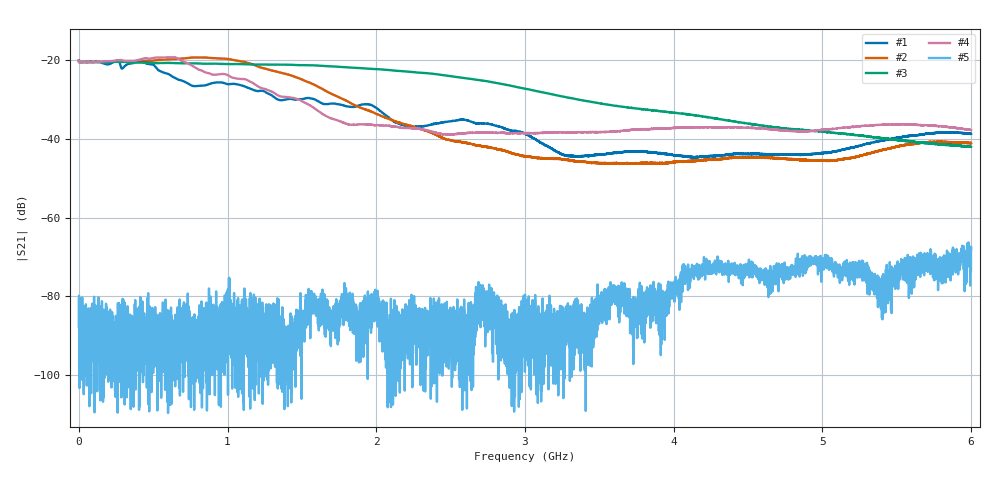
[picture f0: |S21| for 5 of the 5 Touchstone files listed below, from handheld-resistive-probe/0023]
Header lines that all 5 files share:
! Ref Plane: 0.000 mm
# MHZ S MA R  50
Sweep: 300 kHz to 6 GHz
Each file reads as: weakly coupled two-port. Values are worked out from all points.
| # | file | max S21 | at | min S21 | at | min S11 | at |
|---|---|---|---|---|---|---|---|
| 1 | flexground.s2p | -19.98 dB | 254.1 MHz | -44.8 dB | 4.142 GHz | -26.5 dB | 300 kHz |
| 2 | leafground.s2p | -19.25 dB | 777.3 MHz | -46.3 dB | 3.903 GHz | -26.6 dB | 300 kHz |
| 3 | tipground.s2p | -20.08 dB | 300 kHz | -42.0 dB | 5.993 GHz | -26.6 dB | 300 kHz |
| 4 | zground.s2p | -19.20 dB | 612.9 MHz | -38.9 dB | 2.488 GHz | -26.6 dB | 300 kHz |
| 5 | zin.s2p | -66.37 dB | 5.982 GHz | -109.8 dB | 599.7 MHz | -5.7 dB | 2.733 GHz |
